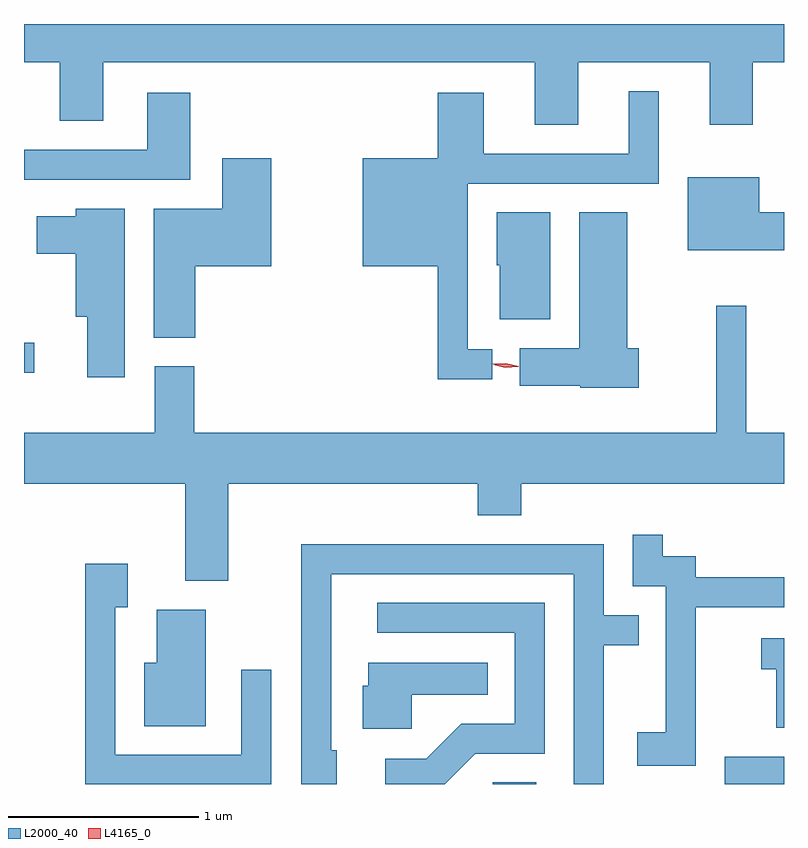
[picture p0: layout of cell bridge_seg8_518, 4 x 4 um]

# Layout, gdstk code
import gdstk
lib = gdstk.Library(unit=1e-6, precision=1e-09)
def R(c, l, rs):  # rectangles x0, y0, x1, y1
    for r in rs: c.add(gdstk.rectangle(r[:2], r[2:], *l))
def P(c, l, *ps):  # polygons
    for p in ps: c.add(gdstk.Polygon(p, *l))
L2000_40 = (2000, 40)
L4165_0 = (4165, 0)

bridge_seg8_518 = lib.new_cell('bridge_seg8_518')
R(bridge_seg8_518, L2000_40, [(266.641,1841.496,266.869,1841.504), (267.861,1841.496,268.173,1841.639), (264.173,1843.661,264.228,1843.819)])
P(bridge_seg8_518, L2000_40, [(267.089,1845.296),(267.781,1845.296),(267.781,1844.966),(268.009,1844.966),(268.009,1845.296),(268.173,1845.296),(268.173,1845.496),(264.173,1845.496),(264.173,1845.296),(264.361,1845.296),(264.361,1844.986),(264.589,1844.986),(264.589,1845.296),(266.861,1845.296),(266.861,1844.966),(267.089,1844.966)],
  [(266.638,1843.784),(266.509,1843.784),(266.509,1844.656),(267.514,1844.656),(267.514,1845.143),(267.356,1845.143),(267.356,1844.814),(266.594,1844.814),(266.594,1845.134),(266.351,1845.134),(266.351,1844.789),(265.956,1844.789),(265.956,1844.221),(266.351,1844.221),(266.351,1843.626),(266.638,1843.626)],
  [(265.049,1845.134),(264.821,1845.134),(264.821,1844.834),(264.173,1844.834),(264.173,1844.676),(265.049,1844.676)],
  [(265.074,1844.221),(265.474,1844.221),(265.474,1844.789),(265.216,1844.789),(265.216,1844.524),(264.856,1844.524),(264.856,1843.846),(265.074,1843.846)],
  [(268.173,1844.504),(268.044,1844.504),(268.044,1844.689),(267.666,1844.689),(267.666,1844.306),(268.173,1844.306)],
  [(264.704,1844.524),(264.446,1844.524),(264.446,1844.484),(264.241,1844.484),(264.241,1844.286),(264.446,1844.286),(264.446,1843.956),(264.506,1843.956),(264.506,1843.636),(264.704,1843.636)],
  [(266.944,1844.504),(266.661,1844.504),(266.661,1844.225),(266.676,1844.225),(266.676,1843.941),(266.944,1843.941)],
  [(267.409,1843.789),(267.349,1843.789),(267.349,1844.504),(267.096,1844.504),(267.096,1843.789),(266.781,1843.789),(266.781,1843.591),(267.1,1843.591),(267.1,1843.581),(267.409,1843.581)],
  [(265.249,1843.076),(266.561,1843.076),(266.561,1842.911),(266.789,1842.911),(266.789,1843.076),(268.173,1843.076),(268.173,1843.344),(267.974,1843.344),(267.974,1844.013),(267.816,1844.013),(267.816,1843.344),(265.069,1843.344),(265.069,1843.694),(264.861,1843.694),(264.861,1843.344),(264.173,1843.344),(264.173,1843.076),(265.021,1843.076),(265.021,1842.566),(265.249,1842.566)],
  [(267.709,1842.426),(268.173,1842.426),(268.173,1842.584),(267.709,1842.584),(267.709,1842.694),(267.534,1842.694),(267.534,1842.808),(267.376,1842.808),(267.376,1842.536),(267.551,1842.536),(267.551,1841.769),(267.401,1841.769),(267.401,1841.591),(267.709,1841.591)],
  [(265.819,1841.674),(265.789,1841.674),(265.789,1842.601),(267.066,1842.601),(267.066,1841.496),(267.224,1841.496),(267.224,1842.226),(267.408,1842.226),(267.408,1842.384),(267.224,1842.384),(267.224,1842.759),(265.631,1842.759),(265.631,1841.496),(265.819,1841.496)],
  [(265.474,1842.098),(265.316,1842.098),(265.316,1841.649),(264.654,1841.649),(264.654,1842.426),(264.719,1842.426),(264.719,1842.654),(264.496,1842.654),(264.496,1841.496),(265.474,1841.496)],
  [(266.547,1841.656),(266.914,1841.656),(266.914,1842.449),(266.033,1842.449),(266.033,1842.291),(266.756,1842.291),(266.756,1841.814),(266.474,1841.814),(266.289,1841.629),(266.073,1841.629),(266.073,1841.496),(266.387,1841.496)],
  [(265.129,1842.414),(264.871,1842.414),(264.871,1842.134),(264.806,1842.134),(264.806,1841.801),(265.129,1841.801)],
  [(268.173,1842.264),(268.053,1842.264),(268.053,1842.101),(268.131,1842.101),(268.131,1841.791),(268.173,1841.791)],
  [(266.214,1841.966),(266.613,1841.966),(266.613,1842.134),(265.986,1842.134),(265.986,1842.014),(265.956,1842.014),(265.956,1841.786),(266.214,1841.786)])
P(bridge_seg8_518, L4165_0, [(266.707,1843.691),(266.64,1843.707),(266.639,1843.707),(266.64,1843.708),(266.709,1843.711),(266.777,1843.695),(266.778,1843.695),(266.777,1843.694)],
  [(266.707,1843.687),(266.642,1843.702),(266.642,1843.702),(266.642,1843.703),(266.709,1843.707),(266.774,1843.693),(266.775,1843.692),(266.774,1843.692)])

lib.write_gds('bridge_seg8_518.gds')
